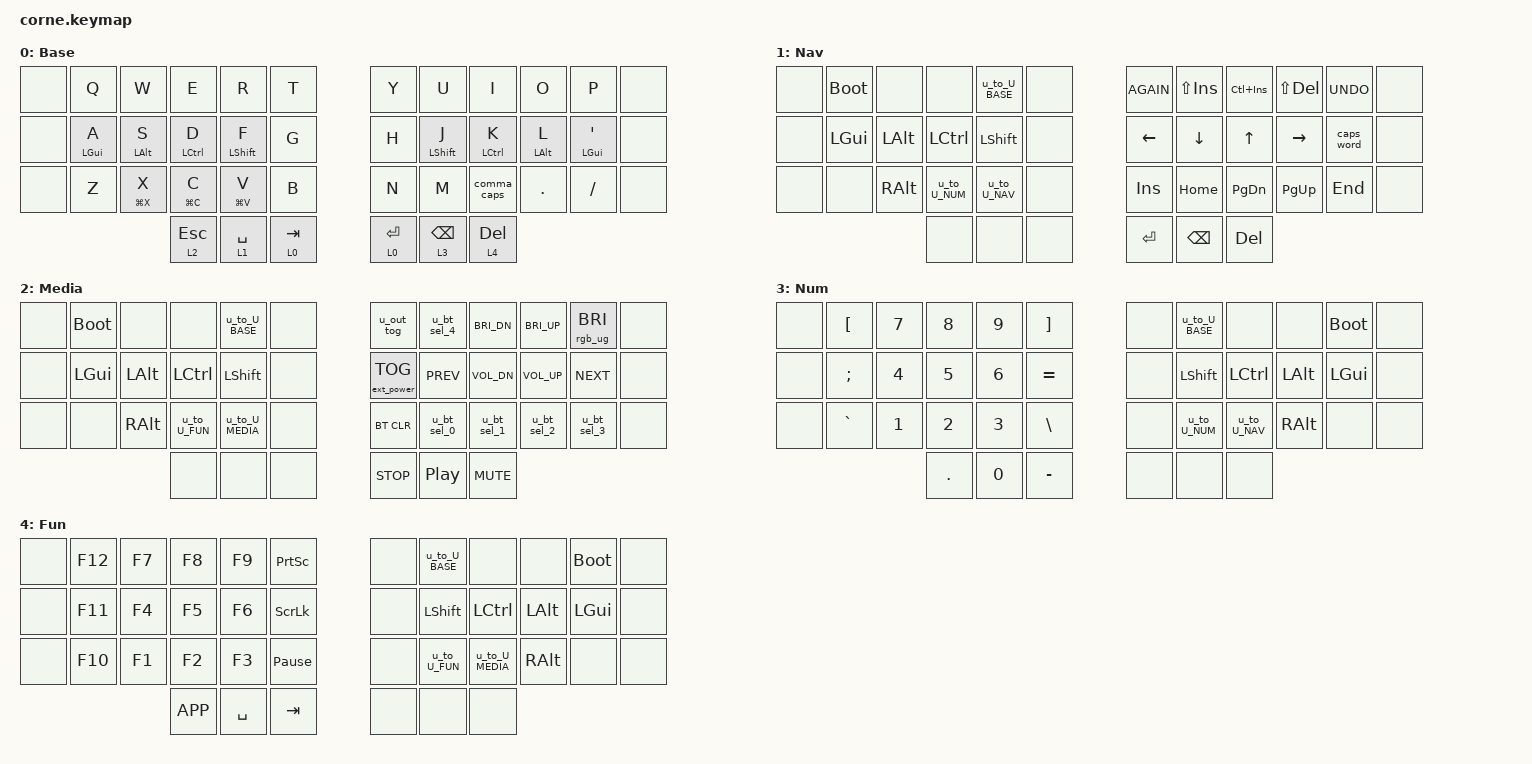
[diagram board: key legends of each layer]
#include <behaviors.dtsi>
#include <dt-bindings/zmk/bt.h>
#include <dt-bindings/zmk/ext_power.h>
#include <dt-bindings/zmk/keys.h>
#include <dt-bindings/zmk/outputs.h>
#include <dt-bindings/zmk/rgb.h>

/ {
    behaviors {
        u_mt_left: u_mt_left {
            compatible = "zmk,behavior-hold-tap";
            #binding-cells = <2>;
            tapping-term-ms = <175>;
            flavor = "balanced";
            bindings = <&kp>, <&kp>;

            quick-tap-ms = <135>;
            require-prior-idle-ms = <100>;
            hold-trigger-key-positions = <39 40 23 41 6 18 30 32 31 19 7 8 20 33 34 35 21 22 9 10 11>;
        };

        u_lt: u_lt {
            compatible = "zmk,behavior-hold-tap";
            #binding-cells = <2>;
            tapping-term-ms = <200>;
            flavor = "tap-preferred";
            bindings = <&mo>, <&kp>;
        };

        u_bt_sel_0: u_bt_sel_0 {
            compatible = "zmk,behavior-mod-morph";
            #binding-cells = <0>;
            bindings = <&bt BT_SEL 0>, <&u_macro_u_bt_sel_0>;

            mods = <(MOD_LSFT|MOD_RSFT)>;
        };

        u_bt_sel_1: u_bt_sel_1 {
            compatible = "zmk,behavior-mod-morph";
            #binding-cells = <0>;
            bindings = <&bt BT_SEL 1>, <&u_macro_u_bt_sel_1>;

            mods = <(MOD_LSFT|MOD_RSFT)>;
        };

        u_bt_sel_2: u_bt_sel_2 {
            compatible = "zmk,behavior-mod-morph";
            #binding-cells = <0>;
            bindings = <&bt BT_SEL 2>, <&u_macro_u_bt_sel_2>;

            mods = <(MOD_LSFT|MOD_RSFT)>;
        };

        u_bt_sel_3: u_bt_sel_3 {
            compatible = "zmk,behavior-mod-morph";
            #binding-cells = <0>;
            bindings = <&bt BT_SEL 3>, <&u_macro_u_bt_sel_3>;

            mods = <(MOD_LSFT|MOD_RSFT)>;
        };

        u_out_tog: u_out_tog {
            compatible = "zmk,behavior-mod-morph";
            #binding-cells = <0>;
            bindings = <&out OUT_TOG>, <&out OUT_USB>;

            mods = <(MOD_LSFT|MOD_RSFT)>;
        };

        u_caps_word: u_caps_word {
            compatible = "zmk,behavior-mod-morph";
            #binding-cells = <0>;
            bindings = <&caps_word>, <&kp CAPS>;

            mods = <(MOD_LSFT|MOD_RSFT)>;
        };

        u_to_U_BASE: u_to_U_BASE {
            compatible = "zmk,behavior-tap-dance";
            #binding-cells = <0>;
            tapping-term-ms = <200>;
            bindings = <&none>, <&to 0>;
        };

        u_to_U_NAV: u_to_U_NAV {
            compatible = "zmk,behavior-tap-dance";
            #binding-cells = <0>;
            tapping-term-ms = <200>;
            bindings = <&none>, <&to 0>;
        };

        u_to_U_MOUSE: u_to_U_MOUSE {
            compatible = "zmk,behavior-tap-dance";
            #binding-cells = <0>;
            tapping-term-ms = <200>;
            bindings = <&none>, <&to 1>;
        };

        u_to_U_MEDIA: u_to_U_MEDIA {
            compatible = "zmk,behavior-tap-dance";
            #binding-cells = <0>;
            tapping-term-ms = <200>;
            bindings = <&none>, <&to 0>;
        };

        u_to_U_NUM: u_to_U_NUM {
            compatible = "zmk,behavior-tap-dance";
            #binding-cells = <0>;
            tapping-term-ms = <200>;
            bindings = <&none>, <&to 2>;
        };

        u_to_U_FUN: u_to_U_FUN {
            compatible = "zmk,behavior-tap-dance";
            #binding-cells = <0>;
            tapping-term-ms = <200>;
            bindings = <&none>, <&to 4>;
        };

        comma_caps: comma_caps {
            compatible = "zmk,behavior-tap-dance";
            label = "COMMA_CAPS";
            #binding-cells = <0>;
            bindings = <&kp COMMA>, <&caps_word>, <&kp CAPSLOCK>;
        };

        u_bt_sel_4: u_bt_sel_4 {
            compatible = "zmk,behavior-mod-morph";
            #binding-cells = <0>;
            bindings = <&bt BT_SEL 4>, <&u_macro_u_bt_sel_4>;

            mods = <(MOD_LSFT|MOD_RSFT)>;
            label = "U_BT_SEL_4";
        };

        u_mt_right: u_mt_right {
            compatible = "zmk,behavior-hold-tap";
            #binding-cells = <2>;
            tapping-term-ms = <175>;
            flavor = "balanced";
            bindings = <&kp>, <&kp>;

            quick-tap-ms = <135>;
            require-prior-idle-ms = <100>;
            hold-trigger-key-positions = <0 12 24 25 13 1 2 14 26 27 15 3 4 16 28 29 17 5 36 38 37>;
            label = "U_MT_RIGHT";
        };
    };

    macros {
        u_macro_u_bt_sel_0: u_macro_u_bt_sel_0 {
            compatible = "zmk,behavior-macro";
            #binding-cells = <0>;
            wait-ms = <0>;
            bindings = <&bt BT_SEL 0 &bt BT_CLR>;
        };

        u_macro_u_bt_sel_1: u_macro_u_bt_sel_1 {
            compatible = "zmk,behavior-macro";
            #binding-cells = <0>;
            wait-ms = <0>;
            bindings = <&bt BT_SEL 1 &bt BT_CLR>;
        };

        u_macro_u_bt_sel_2: u_macro_u_bt_sel_2 {
            compatible = "zmk,behavior-macro";
            #binding-cells = <0>;
            wait-ms = <0>;
            bindings = <&bt BT_SEL 2 &bt BT_CLR>;
        };

        u_macro_u_bt_sel_3: u_macro_u_bt_sel_3 {
            compatible = "zmk,behavior-macro";
            #binding-cells = <0>;
            wait-ms = <0>;
            bindings = <&bt BT_SEL 3 &bt BT_CLR>;
        };

        u_macro_u_bt_sel_4: u_macro_u_bt_sel_4 {
            compatible = "zmk,behavior-macro";
            #binding-cells = <0>;
            wait-ms = <0>;
            bindings = <&bt BT_SEL 4 &bt BT_CLR>;
        };

        u_macro_btn1: u_macro_btn1 {
            compatible = "zmk,behavior-macro";
            #binding-cells = <0>;
            wait-ms = <0>;
            bindings = <&kp KP_SLASH &kp KP_N5>;
        };

        u_macro_btn2: u_macro_btn2 {
            compatible = "zmk,behavior-macro";
            #binding-cells = <0>;
            wait-ms = <0>;
            bindings = <&kp KP_MINUS &kp KP_N5>;
        };

        u_macro_btn3: u_macro_btn3 {
            compatible = "zmk,behavior-macro";
            #binding-cells = <0>;
            wait-ms = <0>;
            bindings = <&kp KP_ASTERISK &kp KP_N5>;
        };
    };

    combos {
        compatible = "zmk,combos";

        left_bracket_bracep {
            bindings = <&kp LEFT_BRACKET>;
            key-positions = <7 8>;
        };

        right_bracket_brace {
            bindings = <&kp RIGHT_BRACKET>;
            key-positions = <8 9>;
        };

        left_paranthesis {
            bindings = <&kp LEFT_PARENTHESIS>;
            key-positions = <19 20>;
        };

        right_parenthesis {
            bindings = <&kp RIGHT_PARENTHESIS>;
            key-positions = <20 21>;
        };
    };

    keymap {
        compatible = "zmk,keymap";

        Base {
            display-name = "Base";
            bindings = <
&none  &kp Q              &kp W               &kp E               &kp R               &kp T          &kp Y        &kp U                &kp I                &kp O               &kp P                 &none
&none  &u_mt_left LGUI A  &u_mt_left LALT S   &u_mt_left LCTRL D  &u_mt_left LSHFT F  &kp G          &kp H        &u_mt_right LSHFT J  &u_mt_right LCTRL K  &u_mt_right LALT L  &u_mt_right LGUI SQT  &none
&none  &kp Z              &u_mt_left LG(X) X  &u_mt_left LG(C) C  &u_mt_left LG(V) V  &kp B          &kp N        &kp M                &comma_caps          &kp DOT             &kp SLASH             &none
                                              &u_lt 2 ESCAPE      &u_lt 1 SPACE       &u_lt 0 TAB    &u_lt 0 RET  &u_lt 3 BSPC         &u_lt 4 DEL
            >;
        };

        NAV {
            display-name = "Nav";
            bindings = <
&none  &bootloader  &none     &none        &u_to_U_BASE  &none    &kp K_AGAIN  &kp LS(INS)  &kp LC(INS)  &kp LS(DEL)  &kp K_UNDO  &none
&none  &kp LGUI     &kp LALT  &kp LCTRL    &kp LSHFT     &none    &kp LEFT     &kp DOWN     &kp UP       &kp RIGHT    &caps_word  &none
&none  &none        &kp RALT  &u_to_U_NUM  &u_to_U_NAV   &none    &kp INS      &kp HOME     &kp PG_DN    &kp PG_UP    &kp END     &none
                              &none        &none         &none    &kp RET      &kp BSPC     &kp DEL
            >;
        };

        MEDIA {
            display-name = "Media";
            bindings = <
&none  &bootloader  &none     &none        &u_to_U_BASE   &none    &u_out_tog         &u_bt_sel_4  &kp C_BRI_DN  &kp C_BRI_UP  &rgb_ug RGB_BRI  &none
&none  &kp LGUI     &kp LALT  &kp LCTRL    &kp LSHFT      &none    &ext_power EP_TOG  &kp C_PREV   &kp C_VOL_DN  &kp C_VOL_UP  &kp C_NEXT       &none
&none  &none        &kp RALT  &u_to_U_FUN  &u_to_U_MEDIA  &none    &bt BT_CLR         &u_bt_sel_0  &u_bt_sel_1   &u_bt_sel_2   &u_bt_sel_3      &none
                              &none        &none          &none    &kp C_STOP         &kp C_PP     &kp C_MUTE
            >;
        };

        NUM {
            display-name = "Num";
            bindings = <
&none  &kp LBKT   &kp N7  &kp N8   &kp N9  &kp RBKT     &none  &u_to_U_BASE  &none        &none     &bootloader  &none
&none  &kp SEMI   &kp N4  &kp N5   &kp N6  &kp EQUAL    &none  &kp LSHFT     &kp LCTRL    &kp LALT  &kp LGUI     &none
&none  &kp GRAVE  &kp N1  &kp N2   &kp N3  &kp BSLH     &none  &u_to_U_NUM   &u_to_U_NAV  &kp RALT  &none        &none
                          &kp DOT  &kp N0  &kp MINUS    &none  &none         &none
            >;
        };

        FUN {
            display-name = "Fun";
            bindings = <
&none  &kp F12  &kp F7  &kp F8     &kp F9     &kp PSCRN          &none  &u_to_U_BASE  &none          &none     &bootloader  &none
&none  &kp F11  &kp F4  &kp F5     &kp F6     &kp SLCK           &none  &kp LSHFT     &kp LCTRL      &kp LALT  &kp LGUI     &none
&none  &kp F10  &kp F1  &kp F2     &kp F3     &kp PAUSE_BREAK    &none  &u_to_U_FUN   &u_to_U_MEDIA  &kp RALT  &none        &none
                        &kp K_APP  &kp SPACE  &kp TAB            &none  &none         &none
            >;
        };
    };
};
